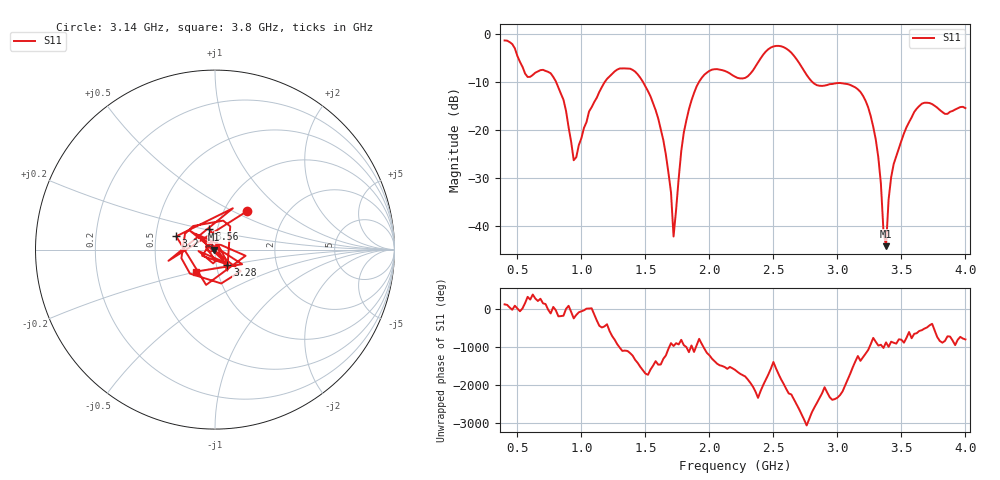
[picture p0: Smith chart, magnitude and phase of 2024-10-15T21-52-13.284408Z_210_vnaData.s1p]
! Created with skrf (http://scikit-rf.org).
# Hz S RI R 50.0
!freq ReS11 ImS11
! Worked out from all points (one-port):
!   181 points, 400 MHz to 4 GHz, reference 50 ohm
!   lowest |S11| = -44.2 dB at 3.38 GHz (marker M1), VSWR 1.01, Z = 49.4 - j0.126 ohm
!   |S11| at or under -10 dB: 803 MHz to 1.181 GHz (378.3 MHz wide, 38.1 % of centre); 1.482 GHz to 1.918 GHz (435.5 MHz wide, 25.6 % of centre); 2.806 GHz to end of sweep
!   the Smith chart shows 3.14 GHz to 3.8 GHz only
!   S11 on the Smith chart (normalised r, x): 3.14 GHz: 1.28, +0.60; 3.2 GHz: 0.64, +0.10; 3.28 GHz: 1.13, -0.19; 3.56 GHz: 0.92, +0.22; 3.8 GHz: 0.79, -0.20
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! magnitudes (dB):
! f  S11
! 400 MHz  -1.3
! 760 MHz  -8.1
! 860 MHz  -13.7
! 940 MHz  -26.3
! 1.06 GHz  -16.1
! 1.3 GHz  -7.1
! 1.44 GHz  -8.4
! 1.58 GHz  -15.8
! 1.68 GHz  -28.9
! 1.72 GHz  -42.2
! 1.76 GHz  -30.1
! 1.82 GHz  -17.9
! 1.92 GHz  -9.9
! 2.2 GHz  -8.8
! 2.5 GHz  -2.5
! 2.66 GHz  -4.5
! 2.84 GHz  -10.6
! 3.1 GHz  -10.6
! 3.14 GHz  -11.1
! 3.2 GHz  -12.8
! 3.28 GHz  -19.3
! 3.32 GHz  -25.7
! 3.36 GHz  -41.1
! 3.38 GHz  -44.2
! 3.42 GHz  -29.8
! 3.56 GHz  -18.3
! 3.8 GHz  -15.8
! 4 GHz  -15.4
